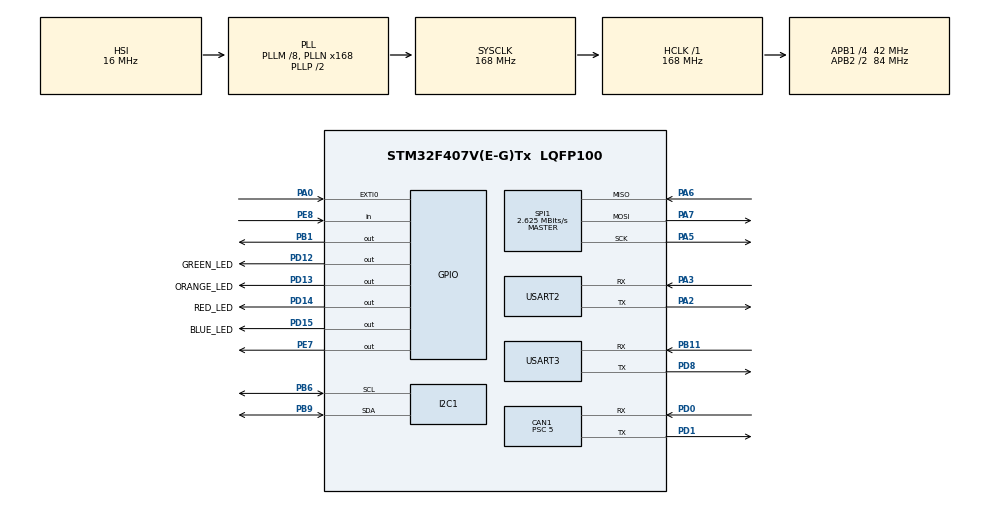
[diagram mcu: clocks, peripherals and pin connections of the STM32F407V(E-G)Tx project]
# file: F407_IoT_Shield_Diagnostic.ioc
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CAN1.ABOM=ENABLE
CAN1.BS1=CAN_BS1_8TQ
CAN1.CalculateBaudRate=839999
CAN1.CalculateTimeBit=1190
CAN1.CalculateTimeQuantum=119.04761904761905
CAN1.Mode=CAN_MODE_NORMAL
CAN1.NART=ENABLE
CAN1.Prescaler=5
Dma.Request0=USART3_RX
Dma.USART3_RX.0.Direction=DMA_PERIPH_TO_MEMORY
Dma.USART3_RX.0.FIFOMode=DMA_FIFOMODE_DISABLE
Dma.USART3_RX.0.Instance=DMA1_Stream1
Dma.USART3_RX.0.MemDataAlignment=DMA_MDATAALIGN_BYTE
Dma.USART3_RX.0.MemInc=DMA_MINC_ENABLE
Dma.USART3_RX.0.Mode=DMA_CIRCULAR
Dma.USART3_RX.0.PeriphDataAlignment=DMA_PDATAALIGN_BYTE
Dma.USART3_RX.0.PeriphInc=DMA_PINC_DISABLE
Dma.USART3_RX.0.Priority=DMA_PRIORITY_LOW
Mcu.Family=STM32F4
Mcu.Name=STM32F407V(E-G)Tx
Mcu.Package=LQFP100
NVIC.CAN1_RX0_IRQn=true\:0\:0\:false\:false\:true\:true\:true\:true
NVIC.CAN1_SCE_IRQn=true\:0\:0\:false\:false\:true\:true\:true\:true
NVIC.CAN1_TX_IRQn=true\:0\:0\:false\:false\:true\:true\:true\:true
NVIC.DMA1_Stream1_IRQn=true\:0\:0\:false\:false\:true\:false\:true\:true
NVIC.EXTI0_IRQn=true\:0\:0\:false\:false\:true\:true\:true\:true
NVIC.PriorityGroup=NVIC_PRIORITYGROUP_0
NVIC.TIM6_DAC_IRQn=true\:0\:0\:false\:false\:true\:false\:true\:true
NVIC.TIM7_IRQn=true\:0\:0\:false\:false\:true\:true\:true\:true
NVIC.TimeBase=TIM6_DAC_IRQn
NVIC.TimeBaseIP=TIM6
NVIC.USART3_IRQn=true\:0\:0\:false\:false\:true\:true\:true\:true
PA0-WKUP.Signal=GPXTI0
PA13.Mode=Trace_Asynchronous_SW
PA13.Signal=SYS_JTMS-SWDIO
PA14.Mode=Trace_Asynchronous_SW
PA14.Signal=SYS_JTCK-SWCLK
PA2.Mode=Asynchronous
PA2.Signal=USART2_TX
PA3.Mode=Asynchronous
PA3.Signal=USART2_RX
PA5.Mode=Full_Duplex_Master
PA5.Signal=SPI1_SCK
PA6.Mode=Full_Duplex_Master
PA6.Signal=SPI1_MISO
PA7.Mode=Full_Duplex_Master
PA7.Signal=SPI1_MOSI
PB1.PinState=GPIO_PIN_SET
PB1.Signal=GPIO_Output
PB11.Mode=Asynchronous
PB11.Signal=USART3_RX
PB3.Mode=Trace_Asynchronous_SW
PB3.Signal=SYS_JTDO-SWO
PB6.Mode=I2C
PB6.Signal=I2C1_SCL
PB9.Mode=I2C
PB9.Signal=I2C1_SDA
PD0.Mode=CAN_Activate
PD0.Signal=CAN1_RX
PD1.Mode=CAN_Activate
PD1.Signal=CAN1_TX
PD12.GPIO_Label=GREEN_LED
PD12.Signal=GPIO_Output
PD13.GPIO_Label=ORANGE_LED
PD13.Signal=GPIO_Output
PD14.GPIO_Label=RED_LED
PD14.Signal=GPIO_Output
PD15.GPIO_Label=BLUE_LED
PD15.Signal=GPIO_Output
PD8.Mode=Asynchronous
PD8.Signal=USART3_TX
PE7.PinState=GPIO_PIN_SET
PE7.Signal=GPIO_Output
PE8.Signal=GPIO_Input
PH0-OSC_IN.Mode=HSE-External-Oscillator
PH0-OSC_IN.Signal=RCC_OSC_IN
PH1-OSC_OUT.Mode=HSE-External-Oscillator
PH1-OSC_OUT.Signal=RCC_OSC_OUT
ProjectManager.HeapSize=0x200
ProjectManager.StackSize=0x400
ProjectManager.TargetToolchain=STM32CubeIDE
RCC.48MHZClocksFreq_Value=48000000
RCC.AHBFreq_Value=168000000
RCC.APB1CLKDivider=RCC_HCLK_DIV4
RCC.APB1Freq_Value=42000000
RCC.APB1TimFreq_Value=84000000
RCC.APB2CLKDivider=RCC_HCLK_DIV2
RCC.APB2Freq_Value=84000000
RCC.APB2TimFreq_Value=168000000
RCC.CortexFreq_Value=168000000
RCC.HCLKFreq_Value=168000000
RCC.HSE_VALUE=8000000
RCC.HSI_VALUE=16000000
RCC.LSE_VALUE=32768
RCC.PLLM=8
RCC.PLLN=168
RCC.PLLQ=7
RCC.SYSCLKFreq_VALUE=168000000
RCC.SYSCLKSource=RCC_SYSCLKSOURCE_PLLCLK
RCC.VCOOutputFreq_Value=336000000
SPI1.BaudRatePrescaler=SPI_BAUDRATEPRESCALER_32
SPI1.CalculateBaudRate=2.625 MBits/s
SPI1.Direction=SPI_DIRECTION_2LINES
SPI1.Mode=SPI_MODE_MASTER
SPI1.VirtualType=VM_MASTER
TIM7.Period=10000-1
TIM7.Prescaler=4999
USART2.VirtualMode=VM_ASYNC
USART3.VirtualMode=VM_ASYNC
VP_FATFS_VS_Generic.Mode=User_defined
VP_SYS_VS_tim6.Mode=TIM6
VP_TIM7_VS_ClockSourceINT.Mode=Enable_Timer
board=STM32F407G-DISC1

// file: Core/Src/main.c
/* USER CODE BEGIN Header */
/**
  ******************************************************************************
  * @file           : main.c
  * @brief          : Main program body
  ******************************************************************************
  * @attention
  *
  * Copyright (c) 2025 STMicroelectronics.
  * All rights reserved.
  *
  * This software is licensed under terms that can be found in the LICENSE file
  * in the root directory of this software component.
  * If no LICENSE file comes with this software, it is provided AS-IS.
  *
  ******************************************************************************
  */
/* USER CODE END Header */
#include "main.h"
#include "fatfs.h"

/* USER CODE BEGIN Includes */
#include "esp32_at.h"
#include "application_config.h"
#include "sensor_util.h"
#include "W25Q128.h"
#include "sd_card.h"

/* USER CODE END Includes */

/* USER CODE BEGIN PTD */
#define TEST_ESP32_C6
#define TEST_HDC1080
#define TEST_NOR_FLASH
#define TEST_SDCARD
//#define TEST_LCD_DISPLAY
//#define TEST_TOUCH
#define TEST_CAN_MOD
/* USER CODE END PTD */

/* USER CODE BEGIN PD */
#define RED_TXT(msg)    "\033[1;31m" msg "\033[0m"
#define GREEN_TXT(msg)  "\033[1;32m" msg "\033[0m"
/* USER CODE END PD */

CAN_HandleTypeDef hcan1;

I2C_HandleTypeDef hi2c1;

SPI_HandleTypeDef hspi1;

TIM_HandleTypeDef htim7;

UART_HandleTypeDef huart2;
UART_HandleTypeDef huart3;
DMA_HandleTypeDef hdma_usart3_rx;

/* USER CODE BEGIN PV */
static bool esp32_test_passed = false;
static bool hdc1080_test_passed = false;
static bool nor_flash_test_passed = false;
static bool sdcard_test_passed = false;
static bool lcd_display_test_passed = false;
static bool touch_test_passed = false;
static bool can_mod_test_passed = false;

uint8_t req_counter = 0;
uint8_t led_no = 0;
CAN_RxHeaderTypeDef RxHeader;
/* USER CODE END PV */

void SystemClock_Config(void);
static void MX_GPIO_Init(void);
static void MX_DMA_Init(void);
static void MX_USART2_UART_Init(void);
static void MX_USART3_UART_Init(void);
static void MX_SPI1_Init(void);
static void MX_CAN1_Init(void);
static void MX_TIM7_Init(void);
static void MX_I2C1_Init(void);
/* USER CODE BEGIN PFP */
void CAN_filter_config(void);
/* USER CODE END PFP */

/* USER CODE BEGIN 0 */
int _write(int file, char *ptr, int len) {
  HAL_UART_Transmit(&huart2, (uint8_t *)ptr, len, HAL_MAX_DELAY);
  return len;
}
/* USER CODE END 0 */

int main(void)
{

  /* MCU Configuration--------------------------------------------------------*/

  /* Reset of all peripherals, Initializes the Flash interface and the Systick. */
  HAL_Init();

  /* Configure the system clock */
  SystemClock_Config();

  /* Initialize all configured peripherals */
  MX_GPIO_Init();
  MX_DMA_Init();
  MX_USART2_UART_Init();
  MX_USART3_UART_Init();
  MX_SPI1_Init();
  MX_FATFS_Init();
  MX_CAN1_Init();
  MX_TIM7_Init();
  MX_I2C1_Init();
  /* USER CODE BEGIN 2 */

#ifdef TEST_ESP32_C6
  /* Step 1: Initialize the ESP32 Wi-Fi module */
  LogInfo(("Initializing Wi-Fi module..."));
  if (esp32_init() != ESP32_OK) {
    LogError(("Failed to initialize Wi-Fi module."));
    esp32_test_passed = false;
  } else {
    LogInfo(("Wi-Fi module initialized successfully.\n"));

    /* Step 2: Connect to Wi-Fi network */
    LogInfo(("Joining Access Point: '%s' ...", WIFI_SSID));
    while (esp32_join_ap((uint8_t *)WIFI_SSID, (uint8_t *)WIFI_PASSWORD) != ESP32_OK) {
      LogInfo(("Retrying to join Access Point: %s", WIFI_SSID));
    }
    LogInfo(("Successfully joined Access Point: %s", WIFI_SSID));

    /* Step 3: Configure SNTP for time synchronization */
    if (esp32_config_sntp(UTC_OFFSET) != ESP32_OK) {
      LogError(("Failed to configure SNTP."));
      esp32_test_passed = false;
    } else {
      LogInfo(("SNTP configured !"));

      /* Retrieve the current time from SNTP */
      sntp_time_t sntp_time;
      if (esp32_get_sntp_time(&sntp_time) != ESP32_OK) {
        LogError(("Failed to retrieve current time from SNTP."));
        esp32_test_passed = false;
      } else {
        LogInfo(("SNTP time retrieved: %s, %02d %s %04d %02d:%02d:%02d",
                 sntp_time.day, sntp_time.date, sntp_time.month, sntp_time.year,
                 sntp_time.hour, sntp_time.min, sntp_time.sec));
        esp32_test_passed = true;
      }
    }
  }
  LogInfo(("\r\n"));
  HAL_Delay(1000);
#endif

#ifdef TEST_HDC1080
  uint8_t humidity = 0;
  float temperature = 0.0;

  get_temperature_reading(&temperature);
  get_humidity_reading(&humidity);
  if (temperature == 0.0 && humidity == 0) {
    LogError(("Failed to read HDC1080 sensor."));
    hdc1080_test_passed = false;
  } else {
    LogDebug(("Sensor readings: Temperature: %.2fC, Humidity: %d %", temperature, humidity));
    hdc1080_test_passed = true;
  }
  LogInfo(("\r\n"));
  HAL_Delay(1000);
#endif

#ifdef TEST_NOR_FLASH
  w25qxx_config_t w25qxx_config = {
      .hspi = &hspi1,
      .flash_size = 4 * 1024 * 1024
  };

  // Initialize W25QXX
  if (w25qxx_init(&w25qxx_config) != W25QXX_OK) {
    LogError(("Failed to initialize W25QXX NOR flash."));
    nor_flash_test_passed = false;
  } else {
    // Read ID
    uint8_t manufacturer_id;
    uint16_t device_id;
    if (w25qxx_read_id(&manufacturer_id, &device_id) != W25QXX_OK || manufacturer_id != 0xEF) {
      LogError(("Failed to read W25QXX ID."));
      nor_flash_test_passed = false;
    } else {
      // Write data to page 0
      uint8_t write_data[256] = {0x12, 0x34};
      uint8_t read_data[256] = {0};
      if (w25qxx_erase_sector(0) != W25QXX_OK || w25qxx_write_page(0, write_data, sizeof(write_data)) != W25QXX_OK) {
        LogError(("Failed to write to W25QXX."));
        nor_flash_test_passed = false;
      } else if (w25qxx_read_data(0, read_data, sizeof(read_data)) != W25QXX_OK ||
                 memcmp(write_data, read_data, sizeof(write_data)) != 0) {
        LogError(("Failed to verify W25QXX data."));
        nor_flash_test_passed = false;
      } else {
        LogInfo(("W25QXX NOR flash test passed."));
        nor_flash_test_passed = true;
      }
    }
  }
  LogInfo(("\r\n"));
  HAL_Delay(1000);
#endif

#ifdef TEST_SDCARD
  FATFS       FatFs;
  FIL         fil;
  FRESULT     fres;
  char        buf[100];
  do
  {
    //Mount the SD Card
    fres = f_mount(&FatFs, "", 1);    //1=mount now
    if (fres != FR_OK)
    {
      LogError(("No SD Card found : (%i)\r\n", fres));
      break;
    }
    LogInfo(("SD Card Mounted Successfully!!!\r\n"));
    //Read the SD Card Total size and Free Size
    FATFS *pfs;
    DWORD fre_clust;
    uint32_t totalSpace, freeSpace;
    f_getfree("", &fre_clust, &pfs);
    totalSpace = (uint32_t)((pfs->n_fatent - 2) * pfs->csize * 0.5);
    freeSpace = (uint32_t)(fre_clust * pfs->csize * 0.5);
    LogInfo(("TotalSpace : %lu bytes, FreeSpace = %lu bytes\n", totalSpace, freeSpace));
    //Open the file
    fres = f_open(&fil, "TEST.TXT", FA_WRITE | FA_READ | FA_CREATE_ALWAYS);
    if(fres != FR_OK)
    {
      LogError(("File creation/open Error : (%i)\r\n", fres));
      sdcard_test_passed = false;
      break;
    }
    LogInfo(("Writing data!!!\r\n"));
    //write the data
    f_puts("Welcome to fastbit embedded", &fil);
    //close your file
    f_close(&fil);
    //Open the file
    fres = f_open(&fil, "TEST.TXT", FA_READ);
    if(fres != FR_OK)
    {
      LogError(("File opening Error : (%i)\r\n", fres));
      sdcard_test_passed = false;
      break;
    }
    //read the data
    f_gets(buf, sizeof(buf), &fil);
    LogInfo(("Read Data : %s\n", buf));
    //close your file
    f_close(&fil);
    LogInfo(("Closing File!!!\r\n"));

    sdcard_test_passed = true;
    } while( false );
    //We're done, so de-mount the drive
    f_mount(NULL, "", 0);
    LogInfo(("SD Card Unmounted Successfully!!!\r\n"));

    LogInfo(("\r\n"));
    HAL_Delay(1000);
#endif

#ifdef TEST_LCD_DISPLAY

#endif

#ifdef TEST_TOUCH

  LogInfo(("\r\n"));
#endif

#ifdef TEST_CAN_MOD
  CAN_filter_config();

  if(HAL_CAN_ActivateNotification(&hcan1,CAN_IT_TX_MAILBOX_EMPTY|CAN_IT_RX_FIFO0_MSG_PENDING|CAN_IT_BUSOFF)!= HAL_OK)
  {
    Error_Handler();
  }

  if( HAL_CAN_Start(&hcan1) != HAL_OK)
  {
    Error_Handler();
  }

  LogInfo(("\r\n"));
#endif
  /* Print test results */
  LogInfo(("=== Test Results ===\n"));
#ifdef TEST_ESP32_C6
  LogInfo(("ESP32 C6: %s\n", esp32_test_passed ? GREEN_TXT("Success") : RED_TXT("Failure")));
#endif
#ifdef TEST_HDC1080
  LogInfo(("HDC1080 Sensor: %s\n", hdc1080_test_passed ? GREEN_TXT("Success") : RED_TXT("Failure")));
#endif
#ifdef TEST_NOR_FLASH
  LogInfo(("NOR Flash: %s\n", nor_flash_test_passed ? GREEN_TXT("Success") : RED_TXT("Failure")));
#endif
#ifdef TEST_SDCARD
  LogInfo(("SD Card: %s\n", sdcard_test_passed ? GREEN_TXT("Success") : RED_TXT("Failure")));
#endif
#ifdef TEST_LCD_DISPLAY
  LogInfo(("LCD Display: %s\n", lcd_display_test_passed ? GREEN_TXT("Success") : RED_TXT("Failure")));
#endif
#ifdef TEST_TOUCH
  LogInfo(("Touch Controller: %s\n", touch_test_passed ? GREEN_TXT("Success") : RED_TXT("Failure")));
#endif
#ifdef TEST_CAN_MOD
  LogInfo(("CAN Module: %s\n", can_mod_test_passed ? GREEN_TXT("Success") : RED_TXT("Failure")));
#endif
  LogInfo(("===================\n"));
  /* USER CODE END 2 */

  /* Infinite loop */
  while (1)
  {

  }
}

void SystemClock_Config(void)
{
  RCC_OscInitTypeDef RCC_OscInitStruct = {0};
  RCC_ClkInitTypeDef RCC_ClkInitStruct = {0};

  /** Configure the main internal regulator output voltage
  */
  __HAL_RCC_PWR_CLK_ENABLE();
  __HAL_PWR_VOLTAGESCALING_CONFIG(PWR_REGULATOR_VOLTAGE_SCALE1);

  /** Initializes the RCC Oscillators according to the specified parameters
  * in the RCC_OscInitTypeDef structure.
  */
  RCC_OscInitStruct.OscillatorType = RCC_OSCILLATORTYPE_HSI;
  RCC_OscInitStruct.HSIState = RCC_HSI_ON;
  RCC_OscInitStruct.HSICalibrationValue = RCC_HSICALIBRATION_DEFAULT;
  RCC_OscInitStruct.PLL.PLLState = RCC_PLL_ON;
  RCC_OscInitStruct.PLL.PLLSource = RCC_PLLSOURCE_HSI;
  RCC_OscInitStruct.PLL.PLLM = 8;
  RCC_OscInitStruct.PLL.PLLN = 168;
  RCC_OscInitStruct.PLL.PLLP = RCC_PLLP_DIV2;
  RCC_OscInitStruct.PLL.PLLQ = 7;
  if (HAL_RCC_OscConfig(&RCC_OscInitStruct) != HAL_OK)
  {
    Error_Handler();
  }

  /** Initializes the CPU, AHB and APB buses clocks
  */
  RCC_ClkInitStruct.ClockType = RCC_CLOCKTYPE_HCLK|RCC_CLOCKTYPE_SYSCLK
                              |RCC_CLOCKTYPE_PCLK1|RCC_CLOCKTYPE_PCLK2;
  RCC_ClkInitStruct.SYSCLKSource = RCC_SYSCLKSOURCE_PLLCLK;
  RCC_ClkInitStruct.AHBCLKDivider = RCC_SYSCLK_DIV1;
  RCC_ClkInitStruct.APB1CLKDivider = RCC_HCLK_DIV4;
  RCC_ClkInitStruct.APB2CLKDivider = RCC_HCLK_DIV2;

  if (HAL_RCC_ClockConfig(&RCC_ClkInitStruct, FLASH_LATENCY_5) != HAL_OK)
  {
    Error_Handler();
  }
}

static void MX_CAN1_Init(void)
{

  hcan1.Instance = CAN1;
  hcan1.Init.Prescaler = 5;
  hcan1.Init.Mode = CAN_MODE_NORMAL;
  hcan1.Init.SyncJumpWidth = CAN_SJW_1TQ;
  hcan1.Init.TimeSeg1 = CAN_BS1_8TQ;
  hcan1.Init.TimeSeg2 = CAN_BS2_1TQ;
  hcan1.Init.TimeTriggeredMode = DISABLE;
  hcan1.Init.AutoBusOff = ENABLE;
  hcan1.Init.AutoWakeUp = DISABLE;
  hcan1.Init.AutoRetransmission = ENABLE;
  hcan1.Init.ReceiveFifoLocked = DISABLE;
  hcan1.Init.TransmitFifoPriority = DISABLE;
  if (HAL_CAN_Init(&hcan1) != HAL_OK)
  {
    Error_Handler();
  }

}

static void MX_I2C1_Init(void)
{

  hi2c1.Instance = I2C1;
  hi2c1.Init.ClockSpeed = 100000;
  hi2c1.Init.DutyCycle = I2C_DUTYCYCLE_2;
  hi2c1.Init.OwnAddress1 = 0;
  hi2c1.Init.AddressingMode = I2C_ADDRESSINGMODE_7BIT;
  hi2c1.Init.DualAddressMode = I2C_DUALADDRESS_DISABLE;
  hi2c1.Init.OwnAddress2 = 0;
  hi2c1.Init.GeneralCallMode = I2C_GENERALCALL_DISABLE;
  hi2c1.Init.NoStretchMode = I2C_NOSTRETCH_DISABLE;
  if (HAL_I2C_Init(&hi2c1) != HAL_OK)
  {
    Error_Handler();
  }

}

static void MX_SPI1_Init(void)
{

  /* SPI1 parameter configuration*/
  hspi1.Instance = SPI1;
  hspi1.Init.Mode = SPI_MODE_MASTER;
  hspi1.Init.Direction = SPI_DIRECTION_2LINES;
  hspi1.Init.DataSize = SPI_DATASIZE_8BIT;
  hspi1.Init.CLKPolarity = SPI_POLARITY_LOW;
  hspi1.Init.CLKPhase = SPI_PHASE_1EDGE;
  hspi1.Init.NSS = SPI_NSS_SOFT;
  hspi1.Init.BaudRatePrescaler = SPI_BAUDRATEPRESCALER_32;
  hspi1.Init.FirstBit = SPI_FIRSTBIT_MSB;
  hspi1.Init.TIMode = SPI_TIMODE_DISABLE;
  hspi1.Init.CRCCalculation = SPI_CRCCALCULATION_DISABLE;
  hspi1.Init.CRCPolynomial = 10;
  if (HAL_SPI_Init(&hspi1) != HAL_OK)
  {
    Error_Handler();
  }

}

static void MX_TIM7_Init(void)
{

  TIM_MasterConfigTypeDef sMasterConfig = {0};

  htim7.Instance = TIM7;
  htim7.Init.Prescaler = 4999;
  htim7.Init.CounterMode = TIM_COUNTERMODE_UP;
  htim7.Init.Period = 10000-1;
  htim7.Init.AutoReloadPreload = TIM_AUTORELOAD_PRELOAD_DISABLE;
  if (HAL_TIM_Base_Init(&htim7) != HAL_OK)
  {
    Error_Handler();
  }
  sMasterConfig.MasterOutputTrigger = TIM_TRGO_RESET;
  sMasterConfig.MasterSlaveMode = TIM_MASTERSLAVEMODE_DISABLE;
  if (HAL_TIMEx_MasterConfigSynchronization(&htim7, &sMasterConfig) != HAL_OK)
  {
    Error_Handler();
  }

}

static void MX_USART2_UART_Init(void)
{

  huart2.Instance = USART2;
  huart2.Init.BaudRate = 115200;
  huart2.Init.WordLength = UART_WORDLENGTH_8B;
  huart2.Init.StopBits = UART_STOPBITS_1;
  huart2.Init.Parity = UART_PARITY_NONE;
  huart2.Init.Mode = UART_MODE_TX_RX;
  huart2.Init.HwFlowCtl = UART_HWCONTROL_NONE;
  huart2.Init.OverSampling = UART_OVERSAMPLING_16;
  if (HAL_UART_Init(&huart2) != HAL_OK)
  {
    Error_Handler();
  }

}

static void MX_USART3_UART_Init(void)
{

  huart3.Instance = USART3;
  huart3.Init.BaudRate = 115200;
  huart3.Init.WordLength = UART_WORDLENGTH_8B;
  huart3.Init.StopBits = UART_STOPBITS_1;
  huart3.Init.Parity = UART_PARITY_NONE;
  huart3.Init.Mode = UART_MODE_TX_RX;
  huart3.Init.HwFlowCtl = UART_HWCONTROL_NONE;
  huart3.Init.OverSampling = UART_OVERSAMPLING_16;
  if (HAL_UART_Init(&huart3) != HAL_OK)
  {
    Error_Handler();
  }

}

static void MX_DMA_Init(void)
{

  /* DMA controller clock enable */
  __HAL_RCC_DMA1_CLK_ENABLE();

  /* DMA interrupt init */
  /* DMA1_Stream1_IRQn interrupt configuration */
  HAL_NVIC_SetPriority(DMA1_Stream1_IRQn, 0, 0);
  HAL_NVIC_EnableIRQ(DMA1_Stream1_IRQn);

}

static void MX_GPIO_Init(void)
{
  GPIO_InitTypeDef GPIO_InitStruct = {0};

  /* GPIO Ports Clock Enable */
  __HAL_RCC_GPIOH_CLK_ENABLE();
  __HAL_RCC_GPIOA_CLK_ENABLE();
  __HAL_RCC_GPIOB_CLK_ENABLE();
  __HAL_RCC_GPIOE_CLK_ENABLE();
  __HAL_RCC_GPIOD_CLK_ENABLE();

  /*Configure GPIO pin Output Level */
  HAL_GPIO_WritePin(GPIOB, GPIO_PIN_1, GPIO_PIN_SET);

  /*Configure GPIO pin Output Level */
  HAL_GPIO_WritePin(GPIOE, GPIO_PIN_7, GPIO_PIN_SET);

  /*Configure GPIO pin Output Level */
  HAL_GPIO_WritePin(GPIOD, GREEN_LED_Pin|ORANGE_LED_Pin|RED_LED_Pin|BLUE_LED_Pin, GPIO_PIN_RESET);

  /*Configure GPIO pin : PA0 */
  GPIO_InitStruct.Pin = GPIO_PIN_0;
  GPIO_InitStruct.Mode = GPIO_MODE_IT_RISING;
  GPIO_InitStruct.Pull = GPIO_NOPULL;
  HAL_GPIO_Init(GPIOA, &GPIO_InitStruct);

  /*Configure GPIO pin : PB1 */
  GPIO_InitStruct.Pin = GPIO_PIN_1;
  GPIO_InitStruct.Mode = GPIO_MODE_OUTPUT_PP;
  GPIO_InitStruct.Pull = GPIO_NOPULL;
  GPIO_InitStruct.Speed = GPIO_SPEED_FREQ_LOW;
  HAL_GPIO_Init(GPIOB, &GPIO_InitStruct);

  /*Configure GPIO pin : PE7 */
  GPIO_InitStruct.Pin = GPIO_PIN_7;
  GPIO_InitStruct.Mode = GPIO_MODE_OUTPUT_PP;
  GPIO_InitStruct.Pull = GPIO_NOPULL;
  GPIO_InitStruct.Speed = GPIO_SPEED_FREQ_LOW;
  HAL_GPIO_Init(GPIOE, &GPIO_InitStruct);

  /*Configure GPIO pin : PE8 */
  GPIO_InitStruct.Pin = GPIO_PIN_8;
  GPIO_InitStruct.Mode = GPIO_MODE_INPUT;
  GPIO_InitStruct.Pull = GPIO_NOPULL;
  HAL_GPIO_Init(GPIOE, &GPIO_InitStruct);

  /*Configure GPIO pins : GREEN_LED_Pin ORANGE_LED_Pin RED_LED_Pin BLUE_LED_Pin */
  GPIO_InitStruct.Pin = GREEN_LED_Pin|ORANGE_LED_Pin|RED_LED_Pin|BLUE_LED_Pin;
  GPIO_InitStruct.Mode = GPIO_MODE_OUTPUT_PP;
  GPIO_InitStruct.Pull = GPIO_NOPULL;
  GPIO_InitStruct.Speed = GPIO_SPEED_FREQ_LOW;
  HAL_GPIO_Init(GPIOD, &GPIO_InitStruct);

  /* EXTI interrupt init*/
  HAL_NVIC_SetPriority(EXTI0_IRQn, 0, 0);
  HAL_NVIC_EnableIRQ(EXTI0_IRQn);

}

/* USER CODE BEGIN 4 */
void CAN_filter_config(void)
{
  CAN_FilterTypeDef can1_filter_init;
  can1_filter_init.FilterActivation = ENABLE;
  can1_filter_init.FilterBank = 0;
  can1_filter_init.FilterFIFOAssignment = CAN_RX_FIFO0;
  can1_filter_init.FilterIdHigh = 0x65D << 5; // Standard ID 0x65D
  can1_filter_init.FilterIdLow = 0;
  can1_filter_init.FilterMaskIdHigh = 0x7FF << 5; // Match 0x65D exactly
  can1_filter_init.FilterMaskIdLow = 0;
  can1_filter_init.FilterMode = CAN_FILTERMODE_IDMASK;
  can1_filter_init.FilterScale = CAN_FILTERSCALE_16BIT;
  if (HAL_CAN_ConfigFilter(&hcan1, &can1_filter_init) != HAL_OK)
  {
    printf("Node 2: HAL_CAN_ConfigFilter failed.\n");
    Error_Handler();
  }
}

void LED_Manage_Output(uint8_t led_no)
{
  HAL_GPIO_WritePin(GPIOD, GREEN_LED_Pin | ORANGE_LED_Pin | RED_LED_Pin | BLUE_LED_Pin, GPIO_PIN_RESET);
  switch (led_no)
  {
    case 0:
      HAL_GPIO_WritePin(GPIOD, BLUE_LED_Pin, GPIO_PIN_SET);
      break;
    case 1:
      HAL_GPIO_WritePin(GPIOD, GREEN_LED_Pin, GPIO_PIN_SET);
      break;
    case 2:
      HAL_GPIO_WritePin(GPIOD, ORANGE_LED_Pin, GPIO_PIN_SET);
      break;
    case 3:
      HAL_GPIO_WritePin(GPIOD, RED_LED_Pin, GPIO_PIN_SET);
      break;
    default:
      HAL_GPIO_WritePin(GPIOD, RED_LED_Pin, GPIO_PIN_SET); // Error indication
      break;
  }
}

void HAL_CAN_RxFifo0MsgPendingCallback(CAN_HandleTypeDef *hcan)
{
  uint8_t rcvd_msg[8];
  if (HAL_CAN_GetRxMessage(hcan, CAN_RX_FIFO0, &RxHeader, rcvd_msg) == HAL_OK)
  {
    if (RxHeader.StdId == 0x65D && RxHeader.RTR == CAN_RTR_DATA && RxHeader.DLC == 1)
    {
      printf("Node 2: Received data frame ID: 0x65D, LED No: %d\n", rcvd_msg[0]);
      LED_Manage_Output(rcvd_msg[0]);
    }
    else
    {
      printf("Node 2: Unexpected frame ID: 0x%X, RTR: %d, DLC: %d\n",
             RxHeader.StdId, RxHeader.RTR, RxHeader.DLC);
    }
  }
  else
  {
    printf("Node 2: HAL_CAN_GetRxMessage failed.\n");
  }
}

/* USER CODE END 4 */

void HAL_TIM_PeriodElapsedCallback(TIM_HandleTypeDef *htim)
{
  if (htim->Instance == TIM6)
  {
    HAL_IncTick();
  }
  /* USER CODE BEGIN Callback 1 */
  if (htim->Instance == TIM7)
  {

  }
  /* USER CODE END Callback 1 */
}

void Error_Handler(void)
{
  __disable_irq();
   while (1)
  {
  }
}
